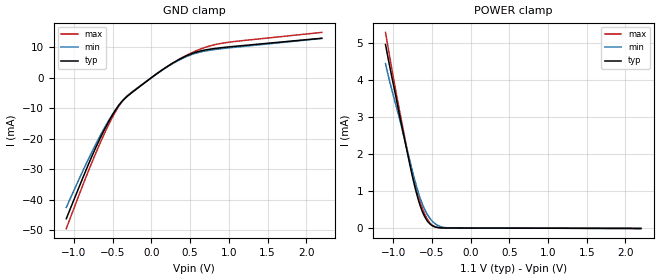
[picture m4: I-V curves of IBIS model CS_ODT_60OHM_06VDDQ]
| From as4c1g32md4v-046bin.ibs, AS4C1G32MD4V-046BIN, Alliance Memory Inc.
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|   MODEL: CS_ODT_60OHM_06VDDQ
[Model]   CS_ODT_60OHM_06VDDQ
Model_type   Input
Vinl   = 0.080V
Vinh   = 0.220V
|   typ   min   max
C_comp   0.564pF   0.508pF   0.620pF
[Voltage Range]   1.100V   1.060V   1.170V
[Temperature Range]   25.0   125.0   -40.0
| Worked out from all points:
|   GND clamp passes 1 mA (typ) near -0.05 V on its own axis
|   POWER clamp passes 1 mA (typ) near -0.71 V on its own axis
[GND Clamp]
|   Voltage   I(typ)   I(min)   I(max)
-1.1V     -46.22mA   -42.51mA   -49.49mA
-800mV    -27.58mA   -25.93mA   -29.7mA
-610mV    -17.17mA   -16.59mA   -18.46mA
-510mV    -12.53mA   -12.3mA    -13.26mA
-420mV    -9.021mA   -8.991mA   -9.31mA
-350mV    -6.991mA   -6.951mA   -6.904mA
-260mV    -5.053mA   -4.931mA   -4.862mA
240mV     4.234mA    4.083mA    4.196mA
440mV     7.005mA    6.763mA    7.142mA
600mV     8.511mA    8.193mA    9.042mA
970mV     9.995mA    9.674mA    11.5mA
2.2V      12.91mA    12.84mA    14.83mA
[POWER Clamp]
|   Voltage   I(typ)   I(min)   I(max)
-1.1V     4.96mA     4.444mA    5.287mA
-1.04V    4.311mA    3.913mA    4.562mA
-940mV    3.275mA    3.119mA    3.408mA
-820mV    2.064mA    2.11mA     2.117mA
-750mV    1.376mA    1.524mA    1.451mA
-690mV    869.2uA    1.061mA    964.3uA
-630mV    479.1uA    684.3uA    568.6uA
-570mV    224.3uA    406.8uA    279.7uA
-500mV    69.96uA    197.1uA    86.74uA
-400mV    8.221uA    49.73uA    8.449uA
-280mV    1.305uA    5.057uA    1.216uA
2.2V      -8.728uA   -15.86uA   -8.498uA
